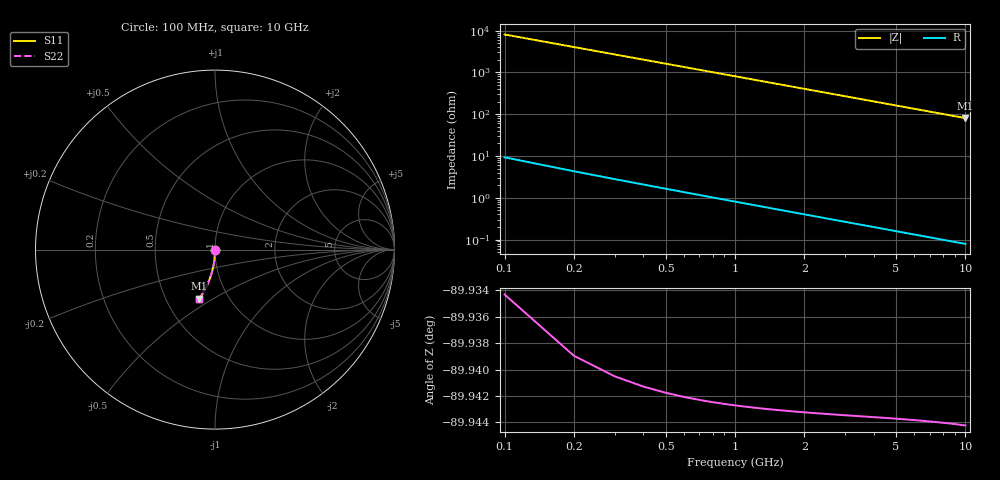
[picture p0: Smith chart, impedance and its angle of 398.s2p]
# Hz S RI R 50.00
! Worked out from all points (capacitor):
!   100 points, 100 MHz to 10 GHz, reference 50 ohm
!   read as one part in shunt: C = 197 fF near 100 MHz
!   lowest |Z| = 80.5 ohm at 10 GHz (marker M1)
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1e8  3.75e-05 -0.003  0.9999 -0.00319  0.9999 -0.00319  3.75e-05 -0.003
2e8  6.02e-06 -0.006  0.9999 -0.00639  0.9999 -0.00639  6.02e-06 -0.006
3e8  -4.47e-05 -0.00899  0.9999 -0.00958  0.9999 -0.00958  -4.47e-05 -0.00899
4e8  -0.000115 -0.012  0.9998 -0.0128  0.9998 -0.0128  -0.000115 -0.012
5e8  -0.000204 -0.015  0.9997 -0.016  0.9997 -0.016  -0.000204 -0.015
6e8  -0.000312 -0.018  0.9996 -0.0192  0.9996 -0.0192  -0.000312 -0.018
7e8  -0.000439 -0.021  0.9995 -0.0223  0.9995 -0.0223  -0.000439 -0.021
8e8  -0.000586 -0.024  0.9993 -0.0255  0.9993 -0.0255  -0.000586 -0.024
9e8  -0.000751 -0.027  0.9991 -0.0287  0.9991 -0.0287  -0.000751 -0.027
1.1e9  -0.00114 -0.0329  0.9988 -0.0351  0.9988 -0.0351  -0.00114 -0.0329
1.4e9  -0.00187 -0.0419  0.998 -0.0446  0.998 -0.0446  -0.00187 -0.0419
1.8e9  -0.0031 -0.0538  0.9968 -0.0573  0.9968 -0.0573  -0.0031 -0.0538
2.1e9  -0.00422 -0.0627  0.9957 -0.0668  0.9957 -0.0668  -0.00422 -0.0627
2.5e9  -0.00598 -0.0745  0.9939 -0.0794  0.9939 -0.0794  -0.00598 -0.0745
2.9e9  -0.00804 -0.0863  0.9918 -0.092  0.9918 -0.092  -0.00804 -0.0863
3.4e9  -0.011 -0.1009  0.9888 -0.1076  0.9888 -0.1076  -0.011 -0.1009
4.2e9  -0.0167 -0.1239  0.9831 -0.1322  0.9831 -0.1322  -0.0167 -0.1239
5.1e9  -0.0245 -0.1494  0.9753 -0.1594  0.9753 -0.1594  -0.0245 -0.1494
5.9e9  -0.0326 -0.1714  0.9673 -0.183  0.9673 -0.183  -0.0326 -0.1714
6.7e9  -0.0416 -0.1929  0.9582 -0.2061  0.9582 -0.2061  -0.0416 -0.1929
8.4e9  -0.064 -0.2362  0.9357 -0.2528  0.9357 -0.2528  -0.064 -0.2362
1e10  -0.0885 -0.2739  0.9111 -0.2937  0.9111 -0.2937  -0.0885 -0.2739
